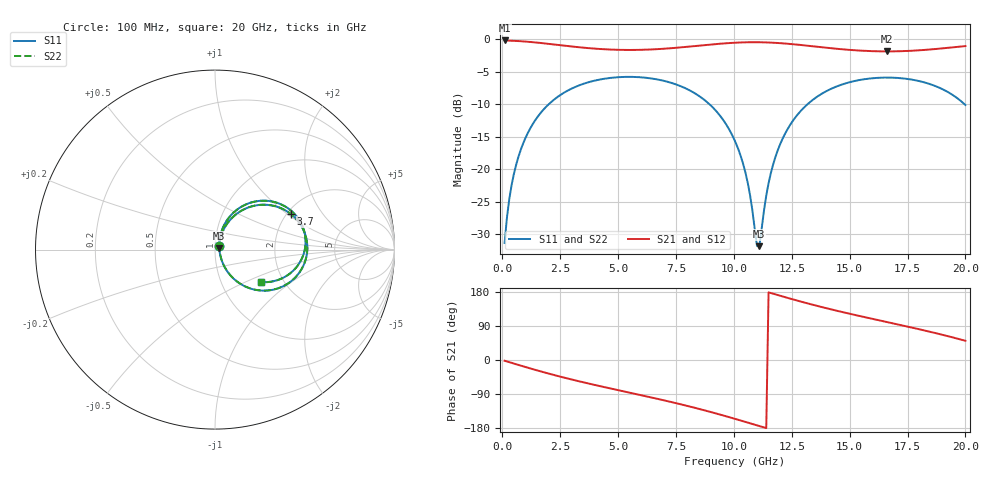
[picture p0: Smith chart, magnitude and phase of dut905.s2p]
! Touchstone file exported from HFSS 2026.1.0
!  File:  C:/ffzhzh/LocalFiles/Ansys_Project_Files/temp_train_TSV_RDL_905_1783277113_5512.aedt
!  Generated:  02:59:43 AM Jul  6, 2026
!  Design:  TSV_RDL
!  Project:  temp_train_TSV_RDL_905_1783277113_5512
! Variables:
!  h_bsmrdl = 4.69um
!  h_ox = 20um
!  h_rdl = 5um
!  h_sub = 75.53um
!  h_tmrdl = 5.37um
!  h_tsv = 75.53um
!  h_via = 3um
!  l_bsmrdl = 577.68um
!  l_sub = 5355.72um
!  l_tmrdl = 771.8um
!  m_sub = 200um
!  pitch = 47.25um
!  r_tsv = 5.51um
!  s_tmrdl = 10um
!  w_bsmrdl = 28.22um
!  w_sub = 500um
!  w_tmrdl = 16.94um
!  x_tsv_center1 = 780.27um
!  x_tsv_center2 = 1386.17um
!  x_tsv_center3 = 2174.91um
!  x_tsv_center4 = 2780.81um
!  x_tsv_center5 = 3569.55um
!  x_tsv_center6 = 4175.45um
# GHz S MA R 50.000000
! Terminal data exported
! Port[1] = TM_RDL1_1_T1
! Port[2] = TM_RDL5_1_T1
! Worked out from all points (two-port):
!   200 points, 100 MHz to 20 GHz, reference 50 ohm
!   highest |S21| = -0.17 dB at 100 MHz (marker M1); lowest = -1.9 dB at 16.6 GHz (marker M2)
!   |S21| within 3 dB of the highest: start of sweep to end of sweep
!   lowest |S11| = -31.8 dB at 11.1 GHz (marker M3), VSWR 1.05, Z = 52.4 + j1.02 ohm
!   |S11| at or under -10 dB: start of sweep to 1.999 GHz; 8.953 GHz to 13.17 GHz (4.222 GHz wide, 38.2 % of centre); 19.96996 GHz to end of sweep
!   |S22| runs from -31.7 to -5.8 dB; largest |S21 - S12| = 1.7e-14
!   S11 on the Smith chart (normalised r, x): 100 MHz: 1.04, +0.04; 3.7 GHz: 2.10, +1.06; 20 GHz: 1.54, -0.62
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0.1  0.02718 42.7  0.9805 -1.9  0.9805 -1.9  0.02718 42.7
! Gamma 0 0 0 0
! Port Impedance 50 0 50 0
0.3  0.05881 63.3  0.9775 -5.7  0.9775 -5.7  0.05881 63.3
0.5  0.09214 66.8  0.9741 -9.4  0.9741 -9.4  0.09214 66.8
1.1  0.1901 62.6  0.9586 -20.3  0.9586 -20.3  0.1901 62.6
2.1  0.3285 48.1  0.919 -37.5  0.919 -37.5  0.3285 48.1
3.5  0.4548 27.9  0.8629 -58.9  0.8629 -58.9  0.4548 27.9
3.7  0.4668 25.1  0.8565 -61.7  0.8565 -61.7  0.4667 25.2
5.3  0.5144 4.2  0.8289 -83.6  0.8289 -83.6  0.5144 4.2
6.8  0.4876 -15.1  0.8427 -103.9  0.8427 -103.9  0.4876 -15.1
8.8  0.3342 -42.8  0.9051 -133.9  0.9051 -133.9  0.3342 -42.8
10.1  0.1574 -59.7  0.9431 -156.2  0.9431 -156.2  0.1574 -59.6
10.5  0.09462 -60.7  0.9489 -163.4  0.9489 -163.4  0.09469 -60.4
11  0.02583 -13.8  0.9505 -172.4  0.9505 -172.4  0.02623 -13.4
11.1  0.02569 22.3  0.9501 -174.3  0.9501 -174.3  0.02612 22.1
11.5  0.07831 68.6  0.9457 178.5  0.9457 178.5  0.0785 68.3
11.9  0.1408 69.8  0.9374 171.3  0.9374 171.3  0.1409 69.6
13.4  0.3416 51.1  0.885 145.9  0.885 145.9  0.3417 51.1
14.8  0.4572 32.0  0.8351 124.9  0.8351 124.9  0.4573 31.9
16.6  0.5083 9.1  0.8078 100.3  0.8078 100.3  0.5084 9.0
16.7  0.5082 7.8  0.8078 99.0  0.8078 99.0  0.5083 7.8
18.3  0.4628 -12.5  0.8308 77.0  0.8308 77.0  0.4628 -12.6
20  0.3127 -35.3  0.8875 50.7  0.8875 50.7  0.3128 -35.4
